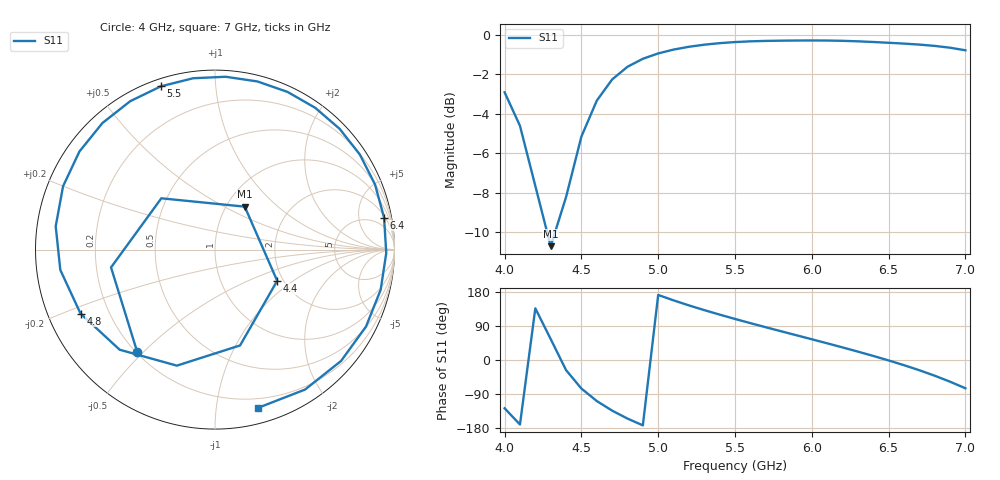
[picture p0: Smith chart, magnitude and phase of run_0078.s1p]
! Touchstone file exported from HFSS 2024.2.0
!  File:  C:/Users/wsak9/Desktop/Sim Fast/Widenad Patch/WP_AI_V1_sweep.aedt
!  Generated:  06:12:31 PM Oct 13, 2026
!  Design:  A1_model
!  Project:  WP_AI_V1_sweep
!  Setup:  Setup1
!  Solution:  Sweep
! Variables:
!  Air_gap = 4.82mm
!  Curve_Amp1 = 1.54
!  Curve_len1 = 1
!  Curve_pos = 13.49mm
!  Extra = 1mm
!  H_sub = 0.79mm
!  L_Patch = 22.98mm
!  L_Patch1 = 15.45mm
!  Sx = 4.99mm
!  Sy = 2.96mm
!  WS = 0.63mm
!  W_Patch = 20.27mm
!  W_Patch1 = 14.45mm
!Data is not renormalized
# GHz S MA
! Terminal data exported
! Port[1] = 1
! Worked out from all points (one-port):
!   31 points, 4 GHz to 7 GHz, reference per port
!   lowest |S11| = -10.7 dB at 4.3 GHz (marker M1), VSWR 1.82
!   |S11| at or under -10 dB: 4.276 GHz to 4.329 GHz (52.58 MHz wide, 1.22 % of centre)
!   S11 on the Smith chart (normalised r, x): 4 GHz: 0.21, -0.48; 4.4 GHz: 1.86, -0.76; 4.8 GHz: 0.10, -0.22; 5.5 GHz: 0.03, +0.72; 6.4 GHz: 2, +10; 7 GHz: 0.12, -1.30
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4  0.7147 -127.4
4.1  0.5877 -170.3
4.2  0.4137 136.3
4.3  0.291 55.3
4.4  0.3876 -26.7
4.5  0.5519 -75.3
4.6  0.6806 -108.2
4.7  0.7703 -133.6
4.8  0.8296 -154.6
4.9  0.8692 -172.5
5  0.8969 171.7
5.1  0.9172 157.4
5.2  0.9323 144.1
5.3  0.9438 131.6
5.4  0.9523 119.8
5.5  0.9583 108.4
5.6  0.9624 97.3
5.7  0.9648 86.5
5.9  0.967 65.3
6.1  0.9669 44.1
6.3  0.9625 22.1
6.4  0.9587 10.7
6.5  0.9544 -1.1
6.6  0.9498 -13.6
6.7  0.9443 -27.0
6.8  0.9371 -41.4
6.9  0.9273 -57.2
7  0.9134 -74.6
